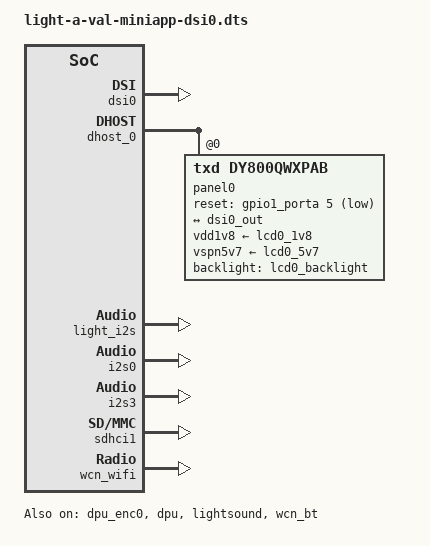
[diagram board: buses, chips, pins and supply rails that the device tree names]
/* SPDX-License-Identifier: GPL-2.0 */
/*
 * Copyright (C) 2021 Alibaba Group Holding Limited.
 */

/dts-v1/;

#include "light-a-val.dts"

/ {
	display-subsystem {
		status = "okay";
	};
};

&dpu_enc0 {
	status = "okay";

	ports {
		/* output */
		port@1 {
			reg = <1>;

			enc0_out: endpoint {
				remote-endpoint = <&dsi0_in>;
			};
		};
	};
};

&dpu {
        status = "okay";
};

&dsi0 {
        status = "okay";
};

&dhost_0 {
	ports {
		#address-cells = <1>;
		#size-cells = <0>;

		port@0 {
			reg = <0>;

			dsi0_in: endpoint {
				remote-endpoint = <&enc0_out>;
			};
		};

		port@1 {
			reg = <1>;

			dsi0_out: endpoint {
				remote-endpoint = <&panel0_in>;
			};
		};
	};

	panel0@0 {
		compatible = "txd,dy800qwxpab";
		reg = <0>;
		backlight = <&lcd0_backlight>;
		reset-gpio = <&gpio1_porta 5 1>; /* active low */
		vdd1v8-supply = <&lcd0_1v8>;
		vspn5v7-supply = <&lcd0_5v7>;

		port {
			panel0_in: endpoint {
				remote-endpoint = <&dsi0_out>;
			};
		};
	};
};

&lightsound {
	status = "okay";

        simple-audio-card,dai-link@0 {          /* I2S - AUDIO SYS CODEC 8156*/
                reg = <0>;
                format = "i2s";
                cpu {
                        sound-dai = <&i2s0 0>;
                };
                codec {
                        sound-dai = <&es8156_audio_codec>;
                };
        };

        simple-audio-card,dai-link@1 {          /* I2S - AUDIO SYS CODEC 7210*/
                reg = <1>;
                format = "i2s";
                cpu {
                        sound-dai = <&i2s3 0>;
                };
                codec {
                        sound-dai = <&es7210_audio_codec>;
                };
        };
};


&light_i2s {
	status = "okay";
};

&i2s0 {
        status = "okay";
};

&i2s3 {
        status = "okay";
};

&sdhci1 {
	status = "okay";
};

&wcn_bt {
	status = "okay";
};

&wcn_wifi {
	status = "okay";
};
